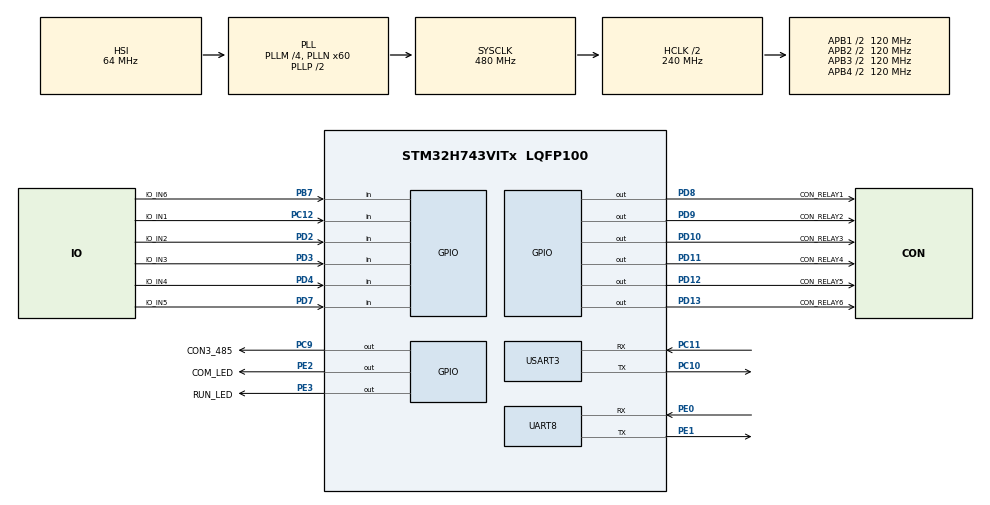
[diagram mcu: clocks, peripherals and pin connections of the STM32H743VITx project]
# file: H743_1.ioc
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CORTEX_M7.default_mode_Activation=1
FREERTOS.Tasks01=defaultTask,24,128,StartDefaultTask,Default,NULL,Dynamic,NULL,NULL
Mcu.Family=STM32H7
Mcu.Name=STM32H743VITx
Mcu.Package=LQFP100
NVIC.PriorityGroup=NVIC_PRIORITYGROUP_4
NVIC.TIM6_DAC_IRQn=true\:15\:0\:false\:false\:true\:false\:false\:true\:true
NVIC.TimeBase=TIM6_DAC_IRQn
NVIC.TimeBaseIP=TIM6
NVIC.UART8_IRQn=true\:5\:0\:false\:false\:true\:true\:true\:true\:true
NVIC.USART3_IRQn=true\:5\:0\:false\:false\:true\:true\:true\:true\:true
PB7.GPIO_Label=IO_IN6
PB7.Signal=GPIO_Input
PC10.Mode=Asynchronous
PC10.Signal=USART3_TX
PC11.Mode=Asynchronous
PC11.Signal=USART3_RX
PC12.GPIO_Label=IO_IN1
PC12.Signal=GPIO_Input
PC9.GPIO_Label=CON3_485
PC9.Signal=GPIO_Output
PD10.GPIO_Label=CON_RELAY3
PD10.Signal=GPIO_Output
PD11.GPIO_Label=CON_RELAY4
PD11.Signal=GPIO_Output
PD12.GPIO_Label=CON_RELAY5
PD12.Signal=GPIO_Output
PD13.GPIO_Label=CON_RELAY6
PD13.Signal=GPIO_Output
PD2.GPIO_Label=IO_IN2
PD2.Signal=GPIO_Input
PD3.GPIO_Label=IO_IN3
PD3.Signal=GPIO_Input
PD4.GPIO_Label=IO_IN4
PD4.Signal=GPIO_Input
PD7.GPIO_Label=IO_IN5
PD7.Signal=GPIO_Input
PD8.GPIO_Label=CON_RELAY1
PD8.Signal=GPIO_Output
PD9.GPIO_Label=CON_RELAY2
PD9.Signal=GPIO_Output
PE0.GPIO_ModeDefaultPP=GPIO_MODE_AF_OD
PE0.Mode=Asynchronous
PE0.Signal=UART8_RX
PE1.GPIO_ModeDefaultPP=GPIO_MODE_AF_OD
PE1.Mode=Asynchronous
PE1.Signal=UART8_TX
PE2.GPIO_Label=COM_LED
PE2.Signal=GPIO_Output
PE3.GPIO_Label=RUN_LED
PE3.Signal=GPIO_Output
PH0-OSC_IN\ (PH0).Mode=HSE-External-Oscillator
PH0-OSC_IN\ (PH0).Signal=RCC_OSC_IN
PH1-OSC_OUT\ (PH1).Mode=HSE-External-Oscillator
PH1-OSC_OUT\ (PH1).Signal=RCC_OSC_OUT
ProjectManager.HeapSize=0x200
ProjectManager.StackSize=0x400
ProjectManager.TargetToolchain=MDK-ARM V5
RCC.ADCFreq_Value=129000000
RCC.APB1Freq_Value=120000000
RCC.APB2Freq_Value=120000000
RCC.APB3Freq_Value=120000000
RCC.APB4Freq_Value=120000000
RCC.CortexFreq_Value=480000000
RCC.D1PPRE=RCC_APB3_DIV2
RCC.D2PPRE1=RCC_APB1_DIV2
RCC.D2PPRE2=RCC_APB2_DIV2
RCC.D3PPRE=RCC_APB4_DIV2
RCC.DIVM1=4
RCC.DIVN1=60
RCC.HCLKFreq_Value=240000000
RCC.HPRE=RCC_HCLK_DIV2
RCC.HSE_VALUE=12000000
RCC.PLL2FRACN=0
RCC.PLL3FRACN=0
RCC.PLLFRACN=0
RCC.SYSCLKFreq_VALUE=480000000
RCC.SYSCLKSource=RCC_SYSCLKSOURCE_PLLCLK
RCC.USBFreq_Value=480000000
USART3.FIFOMode=FIFOMODE_DISABLE
USART3.VirtualMode-Asynchronous=VM_ASYNC
VP_FREERTOS_VS_CMSIS_V2.Mode=CMSIS_V2
VP_SYS_VS_tim6.Mode=TIM6
board=custom

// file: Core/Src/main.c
/* USER CODE BEGIN Header */
/**
  ******************************************************************************
  * @file           : main.c
  * @brief          : Main program body
  ******************************************************************************
  * @attention
  *
  * Copyright (c) 2025 STMicroelectronics.
  * All rights reserved.
  *
  * This software is licensed under terms that can be found in the LICENSE file
  * in the root directory of this software component.
  * If no LICENSE file comes with this software, it is provided AS-IS.
  *
  ******************************************************************************
  */
/* USER CODE END Header */
#include "main.h"
#include "cmsis_os.h"

void SystemClock_Config(void);
static void MPU_Config(void);
void MX_FREERTOS_Init(void);
/* USER CODE BEGIN PFP */
void relay1_open(void);
/* USER CODE END PFP */

int main(void)
{

  /* MPU Configuration--------------------------------------------------------*/
  MPU_Config();

  /* MCU Configuration--------------------------------------------------------*/

  /* Reset of all peripherals, Initializes the Flash interface and the Systick. */
  HAL_Init();

  /* Configure the system clock */
  SystemClock_Config();

  /* Initialize all configured peripherals */
  MX_GPIO_Init();
  MX_USART3_UART_Init();
  MX_UART8_Init();

  /* Init scheduler */
  osKernelInitialize();

  /* Call init function for freertos objects (in cmsis_os2.c) */
  MX_FREERTOS_Init();

  /* Start scheduler */
  osKernelStart();

  /* We should never get here as control is now taken by the scheduler */

  /* Infinite loop */
  while (1)
  {

  }
}

void SystemClock_Config(void)
{
  RCC_OscInitTypeDef RCC_OscInitStruct = {0};
  RCC_ClkInitTypeDef RCC_ClkInitStruct = {0};

  /** Supply configuration update enable
  */
  HAL_PWREx_ConfigSupply(PWR_LDO_SUPPLY);

  /** Configure the main internal regulator output voltage
  */
  __HAL_PWR_VOLTAGESCALING_CONFIG(PWR_REGULATOR_VOLTAGE_SCALE1);

  while(!__HAL_PWR_GET_FLAG(PWR_FLAG_VOSRDY)) {}

  __HAL_RCC_SYSCFG_CLK_ENABLE();
  __HAL_PWR_VOLTAGESCALING_CONFIG(PWR_REGULATOR_VOLTAGE_SCALE0);

  while(!__HAL_PWR_GET_FLAG(PWR_FLAG_VOSRDY)) {}

  /** Initializes the RCC Oscillators according to the specified parameters
  * in the RCC_OscInitTypeDef structure.
  */
  RCC_OscInitStruct.OscillatorType = RCC_OSCILLATORTYPE_HSI;
  RCC_OscInitStruct.HSIState = RCC_HSI_DIV1;
  RCC_OscInitStruct.HSICalibrationValue = RCC_HSICALIBRATION_DEFAULT;
  RCC_OscInitStruct.PLL.PLLState = RCC_PLL_ON;
  RCC_OscInitStruct.PLL.PLLSource = RCC_PLLSOURCE_HSI;
  RCC_OscInitStruct.PLL.PLLM = 4;
  RCC_OscInitStruct.PLL.PLLN = 60;
  RCC_OscInitStruct.PLL.PLLP = 2;
  RCC_OscInitStruct.PLL.PLLQ = 2;
  RCC_OscInitStruct.PLL.PLLR = 2;
  RCC_OscInitStruct.PLL.PLLRGE = RCC_PLL1VCIRANGE_3;
  RCC_OscInitStruct.PLL.PLLVCOSEL = RCC_PLL1VCOWIDE;
  RCC_OscInitStruct.PLL.PLLFRACN = 0;
  if (HAL_RCC_OscConfig(&RCC_OscInitStruct) != HAL_OK)
  {
    Error_Handler();
  }

  /** Initializes the CPU, AHB and APB buses clocks
  */
  RCC_ClkInitStruct.ClockType = RCC_CLOCKTYPE_HCLK|RCC_CLOCKTYPE_SYSCLK
                              |RCC_CLOCKTYPE_PCLK1|RCC_CLOCKTYPE_PCLK2
                              |RCC_CLOCKTYPE_D3PCLK1|RCC_CLOCKTYPE_D1PCLK1;
  RCC_ClkInitStruct.SYSCLKSource = RCC_SYSCLKSOURCE_PLLCLK;
  RCC_ClkInitStruct.SYSCLKDivider = RCC_SYSCLK_DIV1;
  RCC_ClkInitStruct.AHBCLKDivider = RCC_HCLK_DIV2;
  RCC_ClkInitStruct.APB3CLKDivider = RCC_APB3_DIV2;
  RCC_ClkInitStruct.APB1CLKDivider = RCC_APB1_DIV2;
  RCC_ClkInitStruct.APB2CLKDivider = RCC_APB2_DIV2;
  RCC_ClkInitStruct.APB4CLKDivider = RCC_APB4_DIV2;

  if (HAL_RCC_ClockConfig(&RCC_ClkInitStruct, FLASH_LATENCY_4) != HAL_OK)
  {
    Error_Handler();
  }
}

 /* MPU Configuration */

void MPU_Config(void)
{
  MPU_Region_InitTypeDef MPU_InitStruct = {0};

  /* Disables the MPU */
  HAL_MPU_Disable();

  /** Initializes and configures the Region and the memory to be protected
  */
  MPU_InitStruct.Enable = MPU_REGION_ENABLE;
  MPU_InitStruct.Number = MPU_REGION_NUMBER0;
  MPU_InitStruct.BaseAddress = 0x0;
  MPU_InitStruct.Size = MPU_REGION_SIZE_4GB;
  MPU_InitStruct.SubRegionDisable = 0x87;
  MPU_InitStruct.TypeExtField = MPU_TEX_LEVEL0;
  MPU_InitStruct.AccessPermission = MPU_REGION_NO_ACCESS;
  MPU_InitStruct.DisableExec = MPU_INSTRUCTION_ACCESS_DISABLE;
  MPU_InitStruct.IsShareable = MPU_ACCESS_SHAREABLE;
  MPU_InitStruct.IsCacheable = MPU_ACCESS_NOT_CACHEABLE;
  MPU_InitStruct.IsBufferable = MPU_ACCESS_NOT_BUFFERABLE;

  HAL_MPU_ConfigRegion(&MPU_InitStruct);
  /* Enables the MPU */
  HAL_MPU_Enable(MPU_PRIVILEGED_DEFAULT);

}

void HAL_TIM_PeriodElapsedCallback(TIM_HandleTypeDef *htim)
{
  if (htim->Instance == TIM6) {
    HAL_IncTick();
  }
}

void Error_Handler(void)
{
  __disable_irq();
  while (1)
  {
  }
}

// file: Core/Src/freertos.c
/* USER CODE BEGIN Header */
/**
  ******************************************************************************
  * File Name          : freertos.c
  * Description        : Code for freertos applications
  ******************************************************************************
  * @attention
  *
  * Copyright (c) 2025 STMicroelectronics.
  * All rights reserved.
  *
  * This software is licensed under terms that can be found in the LICENSE file
  * in the root directory of this software component.
  * If no LICENSE file comes with this software, it is provided AS-IS.
  *
  ******************************************************************************
  */
/* USER CODE END Header */

#include "FreeRTOS.h"
#include "task.h"
#include "main.h"
#include "cmsis_os.h"
#include <stdio.h>

/* USER CODE BEGIN Variables */
	uint8_t In2;
	uint8_t test_start;
/* USER CODE END Variables */
/* Definitions for defaultTask */
osThreadId_t defaultTaskHandle;
const osThreadAttr_t defaultTask_attributes = {
  .name = "defaultTask",
  .stack_size = 128 * 4,
  .priority = (osPriority_t) osPriorityNormal,
};

/* USER CODE BEGIN FunctionPrototypes */
void relay1_open(){
		HAL_GPIO_WritePin (CON_RELAY1_GPIO_Port,CON_RELAY1_Pin,GPIO_PIN_SET );
		HAL_GPIO_TogglePin (COM_LED_GPIO_Port,COM_LED_Pin );
}

void relay1_close(){
		HAL_GPIO_WritePin (CON_RELAY1_GPIO_Port,CON_RELAY1_Pin,GPIO_PIN_RESET );
}

void UART_SendChar(uint8_t ch)
{
    // 发送一个字节数据
    HAL_UART_Transmit(&huart3, &ch, 1, 0xFFFF);
}

/**
 * @brief  发送字符串到串口
 * @param  str: 要发送的字符串指针
 * @retval None
 */
void UART_SendString(const char *str)
{
    // 检查字符串是否为空
    if(str == NULL)
        return;

    // 循环发送字符串中的每个字符，直到遇到结束符'\0'
    while(*str != '\0')
    {
        UART_SendChar((uint8_t)*str);
        str++;
    }
}

void In2_GetRisingEdge(void *pvParameters);   // 任务函数声明

/* USER CODE END FunctionPrototypes */

void StartDefaultTask(void *argument);

void MX_FREERTOS_Init(void); /* (MISRA C 2004 rule 8.1) */

void MX_FREERTOS_Init(void) {

  /* Create the thread(s) */
  /* creation of defaultTask */
  defaultTaskHandle = osThreadNew(StartDefaultTask, NULL, &defaultTask_attributes);

  /* USER CODE BEGIN RTOS_THREADS */
  /* add threads, ... */
	// 参数：任务函数、名字、堆栈深度、参数、优先级、句柄
	xTaskCreate(
			In2_GetRisingEdge,           // 任务函数
			"ReadInSignal_task",          // 任务名，调试用
			128,                 // 堆栈深度（单位 word，STM32 一个 word 4 字节）
			NULL,                // 传给任务函数的参数
			tskIDLE_PRIORITY+1,  // 优先级
			NULL                 // 任务句柄，不需要可给 NULL
	);
  /* USER CODE END RTOS_THREADS */

}

void StartDefaultTask(void *argument)
{
  /* USER CODE BEGIN StartDefaultTask */
	uint8_t In1;
	uint8_t flag_coil_relaxes=1;
	uint8_t test_count=0;
	char buffer_count[16];

	HAL_GPIO_WritePin (CON3_485_GPIO_Port,CON3_485_Pin,GPIO_PIN_SET );//开启485发送引脚
  /* Infinite loop */
  for(;;)
  {
		if (test_start){

				if (flag_coil_relaxes){
						relay1_open();
						UART_SendString("吸合");
						flag_coil_relaxes=0;
						test_count++;
						sprintf (buffer_count,"%d",test_count);
						UART_SendString(buffer_count);
				}

				HAL_Delay (2000);
				In1 = !HAL_GPIO_ReadPin(IO_IN1_GPIO_Port, IO_IN1_Pin);
				if (In1){
						relay1_close();
						UART_SendString("松开");
						flag_coil_relaxes=1;
				}
				else {
						UART_SendString("没有反馈");
						flag_coil_relaxes=0;
				}

				HAL_GPIO_TogglePin (RUN_LED_GPIO_Port,RUN_LED_Pin );
		}
		else
		{
				test_count=0;
				UART_SendString("测试未开始，IN2短接10ms开始测试");
		}

		osDelay (5000);
  }
  /* USER CODE END StartDefaultTask */
}

/* USER CODE BEGIN Application */
//读上升沿？
void In2_GetRisingEdge(void *pvParameters){
  for(;;)
  {
			In2 = !HAL_GPIO_ReadPin(IO_IN2_GPIO_Port, IO_IN2_Pin);
			if (In2){
				osDelay (10);

				In2 = !HAL_GPIO_ReadPin(IO_IN2_GPIO_Port, IO_IN2_Pin);
				if(!In2){

					if(test_start ) {
						test_start=0;
						UART_SendString("停止测试");
					}

					else {
						test_start=1;
						UART_SendString("开始测试");
					}
				}

			}
			osDelay (1);
	}
}
/* USER CODE END Application */
